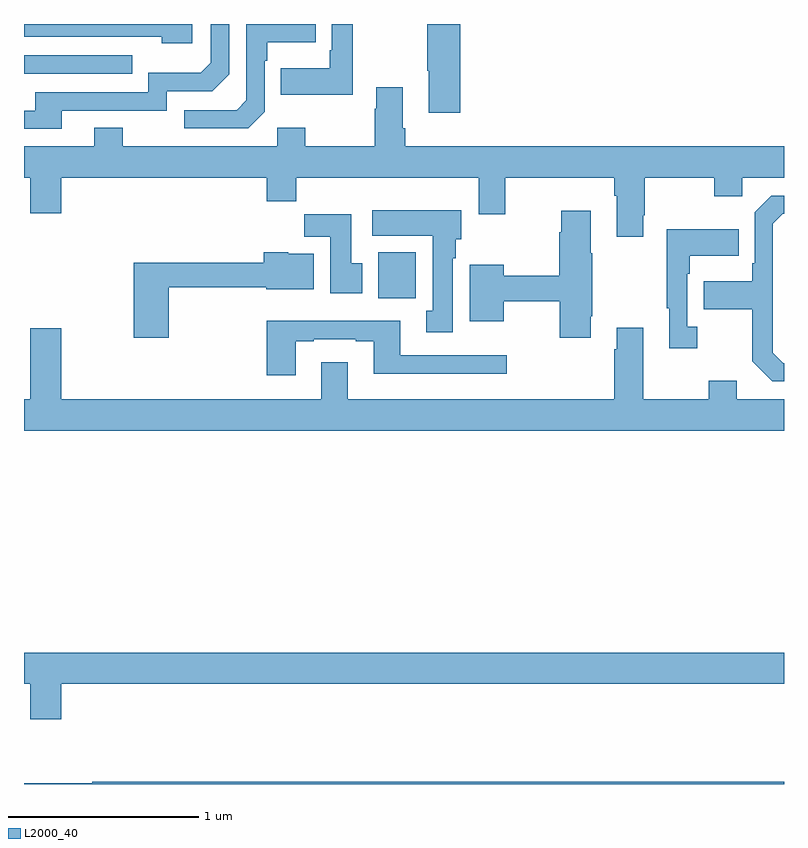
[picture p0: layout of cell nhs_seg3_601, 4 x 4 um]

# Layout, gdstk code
import gdstk
lib = gdstk.Library(unit=1e-6, precision=1e-09)
def R(c, l, rs):  # rectangles x0, y0, x1, y1
    for r in rs: c.add(gdstk.rectangle(r[:2], r[2:], *l))
def P(c, l, *ps):  # polygons
    for p in ps: c.add(gdstk.Polygon(p, *l))
L2000_40 = (2000, 40)

nhs_seg3_601 = lib.new_cell('nhs_seg3_601')
R(nhs_seg3_601, L2000_40, [(142.865,690.956,143.062,691.198), (141,692.139,141.569,692.235)])
P(nhs_seg3_601, L2000_40, [(143.297,692.4),(143.122,692.4),(143.122,692.155),(143.129,692.155),(143.129,691.932),(143.297,691.932)],
  [(142.266,691.938),(142.266,692.207),(142.279,692.207),(142.279,692.303),(142.535,692.303),(142.535,692.4),(142.17,692.4),(142.17,691.998),(142.119,691.947),(141.843,691.947),(141.843,691.851),(142.179,691.851)],
  [(142.729,692.4),(142.62,692.4),(142.62,692.263),(142.608,692.263),(142.608,692.167),(142.351,692.167),(142.351,692.027),(142.729,692.027)],
  [(141.886,692.4),(141,692.4),(141,692.334),(141.725,692.334),(141.725,692.3),(141.886,692.3)],
  [(141.199,691.944),(141.75,691.944),(141.75,692.046),(141.99,692.046),(142.08,692.136),(142.08,692.4),(141.984,692.4),(141.984,692.196),(141.931,692.143),(141.654,692.143),(141.654,692.04),(141.059,692.04),(141.059,691.944),(141,691.944),(141,691.848),(141.199,691.848)],
  [(144.259,691.393),(144.267,691.393),(144.267,691.592),(144.634,691.592),(144.634,691.493),(144.78,691.493),(144.78,691.592),(145,691.592),(145,691.756),(143.006,691.756),(143.006,691.852),(142.993,691.852),(142.993,692.068),(142.853,692.068),(142.853,691.955),(142.846,691.955),(142.846,691.756),(142.479,691.756),(142.479,691.855),(142.332,691.855),(142.332,691.756),(141.519,691.756),(141.519,691.855),(141.371,691.855),(141.371,691.756),(141,691.756),(141,691.592),(141.032,691.592),(141.032,691.404),(141.196,691.404),(141.196,691.592),(142.277,691.592),(142.277,691.468),(142.433,691.468),(142.433,691.592),(143.393,691.592),(143.393,691.398),(143.533,691.398),(143.533,691.592),(144.107,691.592),(144.107,691.496),(144.119,691.496),(144.119,691.281),(144.259,691.281)],
  [(145,690.615),(144.996,690.615),(144.942,690.669),(144.942,691.35),(144.993,691.401),(145,691.401),(145,691.497),(144.933,691.497),(144.846,691.41),(144.846,691.141),(144.834,691.141),(144.834,691.045),(144.577,691.045),(144.577,690.898),(144.834,690.898),(144.834,690.625),(144.939,690.519),(145,690.519)],
  [(143.257,691.166),(143.272,691.166),(143.272,691.266),(143.302,691.266),(143.302,691.42),(142.833,691.42),(142.833,691.286),(143.15,691.286),(143.15,690.89),(143.117,690.89),(143.117,690.777),(143.257,690.777)],
  [(143.983,690.862),(143.991,690.862),(143.991,691.193),(143.983,691.193),(143.983,691.417),(143.828,691.417),(143.828,691.304),(143.816,691.304),(143.816,691.076),(143.524,691.076),(143.524,691.132),(143.345,691.132),(143.345,690.836),(143.524,690.836),(143.524,690.94),(143.821,690.94),(143.821,690.75),(143.983,690.75)],
  [(142.78,691.14),(142.723,691.14),(142.723,691.399),(142.474,691.399),(142.474,691.28),(142.613,691.28),(142.613,690.984),(142.78,690.984)],
  [(144.544,690.806),(144.492,690.806),(144.492,691.085),(144.505,691.085),(144.505,691.181),(144.761,691.181),(144.761,691.321),(144.384,691.321),(144.384,690.905),(144.395,690.905),(144.395,690.693),(144.544,690.693)],
  [(141.761,691.015),(142.274,691.015),(142.274,691.004),(142.525,691.004),(142.525,691.192),(142.392,691.192),(142.392,691.198),(142.262,691.198),(142.262,691.144),(141.578,691.144),(141.578,690.75),(141.761,690.75)],
  [(142.429,690.729),(142.525,690.729),(142.525,690.741),(142.745,690.741),(142.745,690.729),(142.841,690.729),(142.841,690.56),(143.542,690.56),(143.542,690.657),(142.981,690.657),(142.981,690.838),(142.277,690.838),(142.277,690.552),(142.429,690.552)],
  [(145,690.424),(144.751,690.424),(144.751,690.523),(144.604,690.523),(144.604,690.424),(144.259,690.424),(144.259,690.802),(144.119,690.802),(144.119,690.689),(144.107,690.689),(144.107,690.424),(142.705,690.424),(142.705,690.619),(142.565,690.619),(142.565,690.424),(141.196,690.424),(141.196,690.799),(141.032,690.799),(141.032,690.424),(141,690.424),(141,690.26),(145,690.26)],
  [(141.196,688.928),(145,688.928),(145,689.092),(141,689.092),(141,688.928),(141.032,688.928),(141.032,688.74),(141.196,688.74)],
  [(145,688.412),(141.358,688.412),(141.358,688.405),(141,688.405),(141,688.4),(145,688.4)])

lib.write_gds('nhs_seg3_601.gds')
